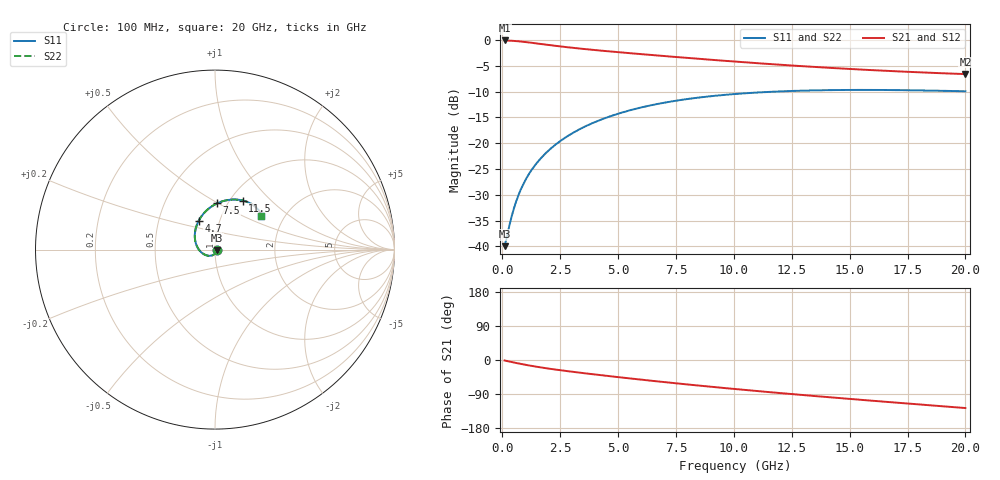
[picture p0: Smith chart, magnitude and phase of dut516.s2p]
! Touchstone file exported from HFSS 2024.1.0
!  File:  C:/UserFiles/LocalFiles/RDL_TSV_Batchsim/temp_RDL_TSV_516_1779740822.aedt
!  Generated:  04:39:10 AM May 26, 2026
!  Design:  RDL_TSV
!  Project:  temp_RDL_TSV_516_1779740822
!  Setup:  Setup1
!  Solution:  Sweep
! Variables:
!  dtsv = 13.55um
!  hbump = 3um
!  htsv = 73.88um
!  ldown = 215.52um
!  lrdl = 202.71um
!  p = 40
!  p1 = 53um
!  rhole = 10um
!  subl = 1457.4um
!  t = 450um
!  tdown = 2.36um
!  trdl = 3.88um
!  viad = 10um
!  wdown = 25.25um
!  wrdl = 15.88um
!  xbump = 18um
# GHz S MA R 50.000000
! Terminal data exported
! Port[1] = TM1_1_T1
! Port[2] = TM1_4_T1
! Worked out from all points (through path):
!   200 points, 100 MHz to 20 GHz, reference 50 ohm
!   highest |S21| = -0.08 dB at 100 MHz (marker M1); lowest = -6.6 dB at 20 GHz (marker M2)
!   group delay of S21, straight-line fit = 16.5 ps
!   lowest |S11| = -40.0 dB at 100 MHz (marker M3), VSWR 1.02, Z = 50.9 - j0.495 ohm
!   |S11| at or under -10 dB: start of sweep to 11.79 GHz
!   |S22| runs from -40.0 to -9.7 dB; largest |S21 - S12| = 1e-14
!   S11 on the Smith chart (normalised r, x): 100 MHz: 1.02, -0.01; 4.7 GHz: 0.79, +0.26; 7.5 GHz: 0.90, +0.49; 11.5 GHz: 1.14, +0.69; 20 GHz: 1.54, +0.64
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0.1  0.01004 -29.0  0.9904 -1.4  0.9904 -1.4  0.01004 -29.0
! Gamma 0 0 0 0
! Port Impedance 50 0 50 0
0.4  0.01933 -81.0  0.9838 -5.3  0.9838 -5.3  0.01933 -81.0
0.5  0.02324 -91.5  0.9804 -6.6  0.9804 -6.6  0.02324 -91.5
0.6  0.02729 -100.4  0.9764 -7.9  0.9764 -7.9  0.02729 -100.4
0.7  0.03141 -108.3  0.9719 -9.1  0.9719 -9.1  0.03141 -108.3
0.9  0.03973 -122.2  0.9617 -11.5  0.9617 -11.5  0.03973 -122.2
1.2  0.05224 -139.7  0.9444 -14.9  0.9444 -14.9  0.05224 -139.7
1.4  0.06052 -149.9  0.9321 -17.0  0.9321 -17.0  0.06053 -149.9
1.7  0.07282 -163.5  0.9135 -19.9  0.9135 -19.9  0.07283 -163.5
2.2  0.09292 177.4  0.8838 -24.4  0.8838 -24.4  0.09294 177.4
2.8  0.1163 159.0  0.8519 -29.3  0.8519 -29.3  0.1163 159.0
3.5  0.1424 142.0  0.8197 -34.6  0.8197 -34.6  0.1424 142.0
4.7  0.1835 120.0  0.7731 -43.1  0.7731 -43.1  0.1836 120.0
5.7  0.2137 106.2  0.7392 -49.9  0.7392 -49.9  0.2138 106.2
6.8  0.2423 94.0  0.705 -57.1  0.705 -57.1  0.2424 94.0
7.5  0.258 87.4  0.6845 -61.5  0.6845 -61.5  0.2581 87.4
8.7  0.2805 77.6  0.6517 -68.8  0.6517 -68.8  0.2806 77.6
10.1  0.3003 68.3  0.6169 -76.9  0.6169 -76.9  0.3004 68.3
11.5  0.314 60.6  0.5859 -84.6  0.5859 -84.6  0.3142 60.6
13.4  0.3248 52.1  0.5498 -94.6  0.5498 -94.6  0.3249 52.1
16.7  0.3276 41.7  0.5013 -111.0  0.5013 -111.0  0.3277 41.7
20  0.3184 35.6  0.4673 -126.8  0.4673 -126.8  0.3185 35.6
